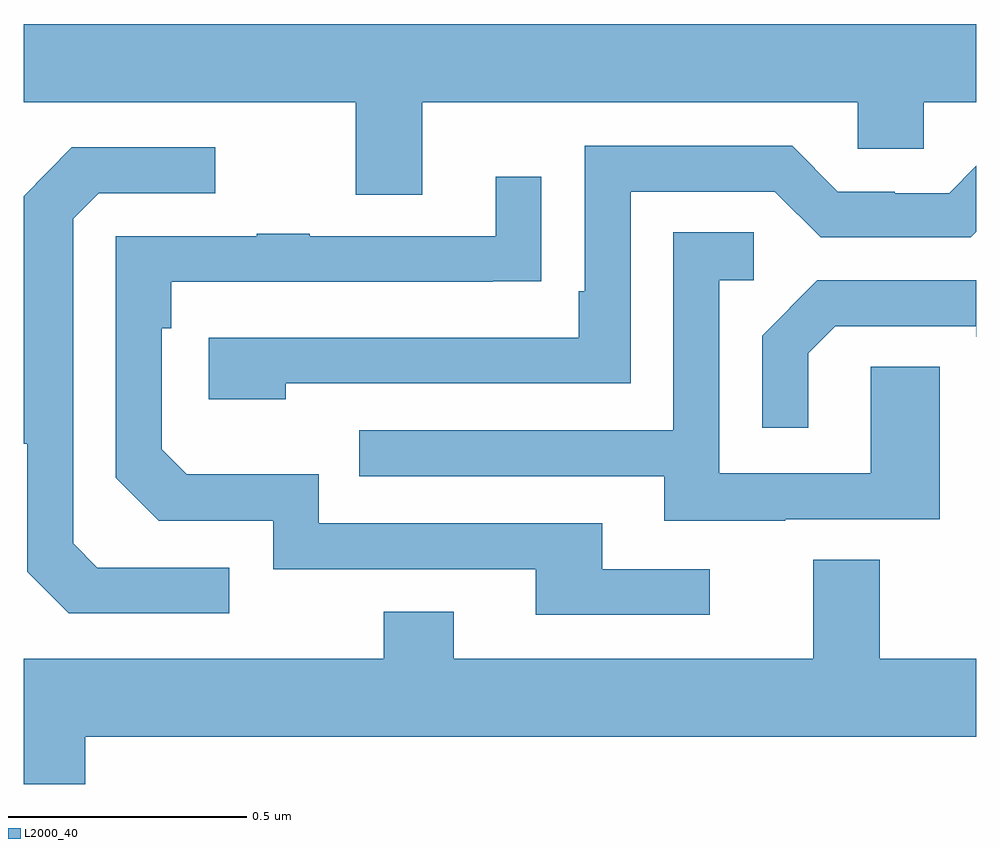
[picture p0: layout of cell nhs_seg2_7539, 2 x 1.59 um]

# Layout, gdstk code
import gdstk
lib = gdstk.Library(unit=1e-6, precision=1e-09)
def P(c, l, *ps):  # polygons
    for p in ps: c.add(gdstk.Polygon(p, *l))
L2000_40 = (2000, 40)

nhs_seg2_7539 = lib.new_cell('nhs_seg2_7539')
P(nhs_seg2_7539, L2000_40, [(205,634.316),(205.697,634.316),(205.697,634.122),(205.837,634.122),(205.837,634.316),(206.751,634.316),(206.751,634.218),(206.889,634.218),(206.889,634.316),(207,634.316),(207,634.48),(205,634.48)],
  [(205.55,633.726),(206.274,633.726),(206.274,634.128),(206.577,634.128),(206.673,634.032),(206.988,634.032),(207,634.044),(207,634.182),(206.943,634.125),(206.828,634.125),(206.828,634.128),(206.709,634.128),(206.613,634.224),(206.178,634.224),(206.178,633.919),(206.165,633.919),(206.165,633.822),(205.389,633.822),(205.389,633.692),(205.55,633.692)],
  [(205.432,633.339),(205.155,633.339),(205.104,633.39),(205.104,634.071),(205.158,634.125),(205.402,634.125),(205.402,634.221),(205.101,634.221),(205,634.119),(205,633.599),(205.008,633.599),(205.008,633.33),(205.095,633.243),(205.432,633.243)],
  [(206.44,633.336),(206.215,633.336),(206.215,633.432),(205.62,633.432),(205.62,633.535),(205.343,633.535),(205.29,633.588),(205.29,633.842),(205.31,633.842),(205.31,633.939),(205.985,633.939),(205.985,633.94),(206.087,633.94),(206.087,634.159),(205.991,634.159),(205.991,634.035),(205.601,634.035),(205.601,634.04),(205.489,634.04),(205.489,634.035),(205.194,634.035),(205.194,633.528),(205.284,633.438),(205.524,633.438),(205.524,633.336),(206.075,633.336),(206.075,633.24),(206.44,633.24)],
  [(206.599,633.441),(206.923,633.441),(206.923,633.761),(206.778,633.761),(206.778,633.537),(206.46,633.537),(206.46,633.942),(206.533,633.942),(206.533,634.043),(206.364,634.043),(206.364,633.627),(205.705,633.627),(205.705,633.531),(206.345,633.531),(206.345,633.437),(206.599,633.437)],
  [(206.647,633.789),(206.704,633.846),(206.999,633.846),(206.999,633.824),(207,633.824),(207,633.942),(206.666,633.942),(206.55,633.826),(206.55,633.633),(206.647,633.633)],
  [(205.13,632.984),(207,632.984),(207,633.148),(206.797,633.148),(206.797,633.356),(206.657,633.356),(206.657,633.148),(205.903,633.148),(205.903,633.247),(205.756,633.247),(205.756,633.148),(205,633.148),(205,632.885),(205.13,632.885)])

lib.write_gds('nhs_seg2_7539.gds')
